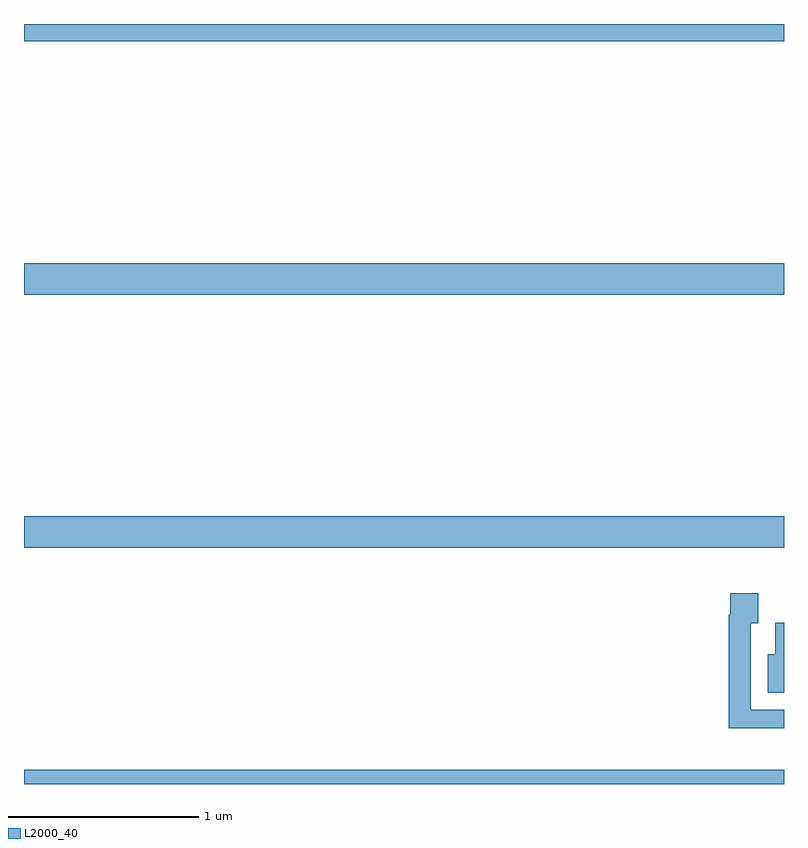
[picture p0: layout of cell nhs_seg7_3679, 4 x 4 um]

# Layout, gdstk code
import gdstk
lib = gdstk.Library(unit=1e-6, precision=1e-09)
def R(c, l, rs):  # rectangles x0, y0, x1, y1
    for r in rs: c.add(gdstk.rectangle(r[:2], r[2:], *l))
def P(c, l, *ps):  # polygons
    for p in ps: c.add(gdstk.Polygon(p, *l))
L2000_40 = (2000, 40)

nhs_seg7_3679 = lib.new_cell('nhs_seg7_3679')
R(nhs_seg7_3679, L2000_40, [(345,1038,349,1038.076), (345,1039.244,349,1039.408), (345,1040.576,349,1040.74), (345,1041.908,349,1042)])
P(nhs_seg7_3679, L2000_40, [(349,1038.39),(348.825,1038.39),(348.825,1038.847),(348.865,1038.847),(348.865,1039.003),(348.717,1039.003),(348.717,1038.89),(348.709,1038.89),(348.709,1038.293),(349,1038.293)],
  [(349,1038.85),(348.953,1038.85),(348.953,1038.682),(348.914,1038.682),(348.914,1038.479),(349,1038.479)])

lib.write_gds('nhs_seg7_3679.gds')
